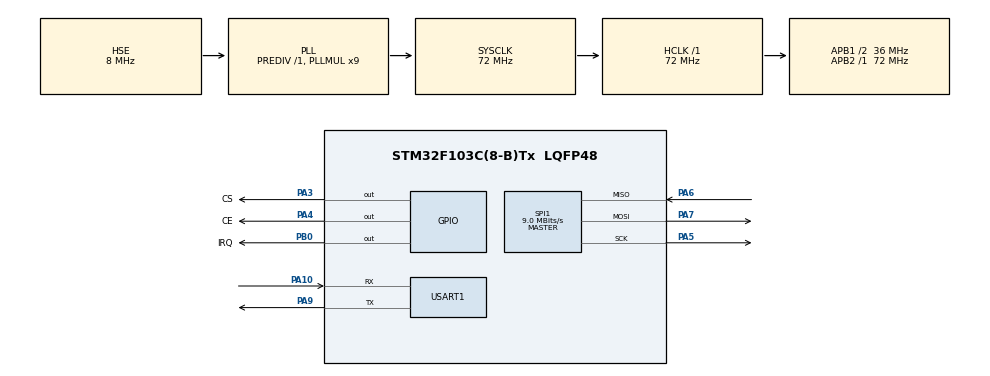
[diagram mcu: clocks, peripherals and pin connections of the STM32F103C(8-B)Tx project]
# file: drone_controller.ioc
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Mcu.Family=STM32F1
Mcu.Name=STM32F103C(8-B)Tx
Mcu.Package=LQFP48
NVIC.PriorityGroup=NVIC_PRIORITYGROUP_4
NVIC.USART1_IRQn=true\:0\:0\:false\:false\:true\:true\:true
PA10.Mode=Asynchronous
PA10.Signal=USART1_RX
PA13.Mode=Serial_Wire
PA13.Signal=SYS_JTMS-SWDIO
PA14.Mode=Serial_Wire
PA14.Signal=SYS_JTCK-SWCLK
PA3.GPIO_Label=CS
PA3.Signal=GPIO_Output
PA4.GPIO_Label=CE
PA4.Signal=GPIO_Output
PA5.Mode=Full_Duplex_Master
PA5.Signal=SPI1_SCK
PA6.Mode=Full_Duplex_Master
PA6.Signal=SPI1_MISO
PA7.Mode=Full_Duplex_Master
PA7.Signal=SPI1_MOSI
PA9.Mode=Asynchronous
PA9.Signal=USART1_TX
PB0.GPIO_Label=IRQ
PB0.Signal=GPIO_Output
PD0-OSC_IN.Mode=HSE-External-Oscillator
PD0-OSC_IN.Signal=RCC_OSC_IN
PD1-OSC_OUT.Mode=HSE-External-Oscillator
PD1-OSC_OUT.Signal=RCC_OSC_OUT
ProjectManager.HeapSize=0x200
ProjectManager.StackSize=0x400
ProjectManager.TargetToolchain=STM32CubeIDE
RCC.AHBFreq_Value=72000000
RCC.APB1CLKDivider=RCC_HCLK_DIV2
RCC.APB1Freq_Value=36000000
RCC.APB1TimFreq_Value=72000000
RCC.APB2Freq_Value=72000000
RCC.APB2TimFreq_Value=72000000
RCC.HCLKFreq_Value=72000000
RCC.PLLMUL=RCC_PLL_MUL9
RCC.PLLSourceVirtual=RCC_PLLSOURCE_HSE
RCC.SYSCLKFreq_VALUE=72000000
RCC.SYSCLKSource=RCC_SYSCLKSOURCE_PLLCLK
RCC.USBFreq_Value=72000000
SPI1.BaudRatePrescaler=SPI_BAUDRATEPRESCALER_8
SPI1.CalculateBaudRate=9.0 MBits/s
SPI1.Direction=SPI_DIRECTION_2LINES
SPI1.Mode=SPI_MODE_MASTER
SPI1.VirtualType=VM_MASTER
USART1.VirtualMode=VM_ASYNC
board=custom

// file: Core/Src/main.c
/* USER CODE BEGIN Header */
/**
  ******************************************************************************
  * @file           : main.c
  * @brief          : Main program body
  ******************************************************************************
  * @attention
  *
  * <h2><center>&copy; Copyright (c) 2020 STMicroelectronics.
  * All rights reserved.</center></h2>
  *
  * This software component is licensed by ST under BSD 3-Clause license,
  * the "License"; You may not use this file except in compliance with the
  * License. You may obtain a copy of the License at:
  *                        opensource.org/licenses/BSD-3-Clause
  *
  ******************************************************************************
  */
/* USER CODE END Header */

#include "main.h"

/* USER CODE BEGIN Includes */
#include "nrf24_hal.h"
#include "nrf24.h"
/* USER CODE END Includes */

SPI_HandleTypeDef hspi1;

UART_HandleTypeDef huart1;

void SystemClock_Config(void);
static void MX_GPIO_Init(void);
static void MX_SPI1_Init(void);
static void MX_USART1_UART_Init(void);

/* USER CODE BEGIN 0 */
int i;
uint8_t Rx_data[2];
uint8_t Rx_buffer[6];
//void init_ESC(){
//	  HAL_TIM_Base_Start(&htim4);
//	  HAL_TIM_PWM_Start(&htim1,TIM_CHANNEL_1);
//	    HAL_TIM_PWM_Start(&htim1,TIM_CHANNEL_2);
//	    HAL_TIM_PWM_Start(&htim1,TIM_CHANNEL_3);
//	    HAL_TIM_PWM_Start(&htim1,TIM_CHANNEL_4);
//	    __HAL_TIM_SET_COMPARE(&htim1, TIM_CHANNEL_1, 1000);
//	    __HAL_TIM_SET_COMPARE(&htim1, TIM_CHANNEL_2, 1000);
//	    __HAL_TIM_SET_COMPARE(&htim1, TIM_CHANNEL_3, 1000);
//	    __HAL_TIM_SET_COMPARE(&htim1, TIM_CHANNEL_4, 1000);
//	    esc_value1 = 1000;
//	    esc_value2 = 1000;
//	    esc_value3 = 1000;
//	    esc_value4 = 1000;
//
//	    HAL_Delay(3000);
//}
//
//void set_ESC(){
//	    __HAL_TIM_SET_COMPARE(&htim1, TIM_CHANNEL_1,esc_value1);
//	    __HAL_TIM_SET_COMPARE(&htim1, TIM_CHANNEL_2, esc_value2);
//	    __HAL_TIM_SET_COMPARE(&htim1, TIM_CHANNEL_3,esc_value3);
//	    __HAL_TIM_SET_COMPARE(&htim1, TIM_CHANNEL_4,esc_value4);
//}
/* USER CODE END 0 */

int main(void)
{

  /* MCU Configuration--------------------------------------------------------*/

  /* Reset of all peripherals, Initializes the Flash interface and the Systick. */
  HAL_Init();

  /* Configure the system clock */
  SystemClock_Config();

  /* Initialize all configured peripherals */
  MX_GPIO_Init();
  MX_SPI1_Init();
  MX_USART1_UART_Init();
  /* USER CODE BEGIN 2 */

  HAL_UART_Receive_IT(&huart1, &Rx_data, 1);

  uint8_t ADDR[] = { 'n', 'R', 'F', '2', '4' }; // the TX address
    nRF24_DisableAA(0xFF); // disable ShockBurst
    nRF24_SetRFChannel(24); // set RF channel to 2490MHz
    nRF24_SetDataRate(nRF24_DR_2Mbps); // 2Mbit/s data rate
    nRF24_SetCRCScheme(nRF24_CRC_1byte); // 1-byte CRC scheme
    nRF24_SetAddrWidth(5); // address width is 5 bytes
    nRF24_SetTXPower(nRF24_TXPWR_0dBm); // configure TX power
    nRF24_SetAddr(nRF24_PIPETX, ADDR); // program TX address
    nRF24_SetOperationalMode(nRF24_MODE_TX); // switch transceiver to the TX mode
    nRF24_SetPowerMode(nRF24_PWR_UP); // wake-up transceiver (in case if it sleeping)
    // the nRF24 is ready for transmission, upload a payload, then pull CE pin to HIGH and it will transmit a packet...
    char pBuf[10] = "abcd";
//    init_ESC();
    /* USER CODE END 2 */

    /* Infinite loop */
    while (1)
    {

      /* USER CODE BEGIN 3 */
  	  uint8_t status;
  	  nRF24_WritePayload(Rx_buffer, 12); // transfer payload data to transceiver
  	  nRF24_CE_H; // assert CE pin (transmission starts)
  	  while (1) {

  	      status = nRF24_GetStatus();
  	      if (status & (nRF24_FLAG_TX_DS | nRF24_FLAG_MAX_RT)) {
  	          // transmission ended, exit loop
  	          break;
  	      }
  	  }
  	  nRF24_CE_L; // de-assert CE pin (nRF24 goes to StandBy-I mode)
  	  nRF24_ClearIRQFlags(); // clear any pending IRQ flags

//  	  HAL_Delay(1);
    }
    /* USER CODE END 3 */
  }
void SystemClock_Config(void)
{
  RCC_OscInitTypeDef RCC_OscInitStruct = {0};
  RCC_ClkInitTypeDef RCC_ClkInitStruct = {0};

  /** Initializes the CPU, AHB and APB busses clocks
  */
  RCC_OscInitStruct.OscillatorType = RCC_OSCILLATORTYPE_HSE;
  RCC_OscInitStruct.HSEState = RCC_HSE_ON;
  RCC_OscInitStruct.HSEPredivValue = RCC_HSE_PREDIV_DIV1;
  RCC_OscInitStruct.HSIState = RCC_HSI_ON;
  RCC_OscInitStruct.PLL.PLLState = RCC_PLL_ON;
  RCC_OscInitStruct.PLL.PLLSource = RCC_PLLSOURCE_HSE;
  RCC_OscInitStruct.PLL.PLLMUL = RCC_PLL_MUL9;
  if (HAL_RCC_OscConfig(&RCC_OscInitStruct) != HAL_OK)
  {
    Error_Handler();
  }
  /** Initializes the CPU, AHB and APB busses clocks
  */
  RCC_ClkInitStruct.ClockType = RCC_CLOCKTYPE_HCLK|RCC_CLOCKTYPE_SYSCLK
                              |RCC_CLOCKTYPE_PCLK1|RCC_CLOCKTYPE_PCLK2;
  RCC_ClkInitStruct.SYSCLKSource = RCC_SYSCLKSOURCE_PLLCLK;
  RCC_ClkInitStruct.AHBCLKDivider = RCC_SYSCLK_DIV1;
  RCC_ClkInitStruct.APB1CLKDivider = RCC_HCLK_DIV2;
  RCC_ClkInitStruct.APB2CLKDivider = RCC_HCLK_DIV1;

  if (HAL_RCC_ClockConfig(&RCC_ClkInitStruct, FLASH_LATENCY_2) != HAL_OK)
  {
    Error_Handler();
  }
}

static void MX_SPI1_Init(void)
{

  /* SPI1 parameter configuration*/
  hspi1.Instance = SPI1;
  hspi1.Init.Mode = SPI_MODE_MASTER;
  hspi1.Init.Direction = SPI_DIRECTION_2LINES;
  hspi1.Init.DataSize = SPI_DATASIZE_8BIT;
  hspi1.Init.CLKPolarity = SPI_POLARITY_LOW;
  hspi1.Init.CLKPhase = SPI_PHASE_1EDGE;
  hspi1.Init.NSS = SPI_NSS_SOFT;
  hspi1.Init.BaudRatePrescaler = SPI_BAUDRATEPRESCALER_8;
  hspi1.Init.FirstBit = SPI_FIRSTBIT_MSB;
  hspi1.Init.TIMode = SPI_TIMODE_DISABLE;
  hspi1.Init.CRCCalculation = SPI_CRCCALCULATION_DISABLE;
  hspi1.Init.CRCPolynomial = 10;
  if (HAL_SPI_Init(&hspi1) != HAL_OK)
  {
    Error_Handler();
  }

}

static void MX_USART1_UART_Init(void)
{

  huart1.Instance = USART1;
  huart1.Init.BaudRate = 115200;
  huart1.Init.WordLength = UART_WORDLENGTH_8B;
  huart1.Init.StopBits = UART_STOPBITS_1;
  huart1.Init.Parity = UART_PARITY_NONE;
  huart1.Init.Mode = UART_MODE_TX_RX;
  huart1.Init.HwFlowCtl = UART_HWCONTROL_NONE;
  huart1.Init.OverSampling = UART_OVERSAMPLING_16;
  if (HAL_UART_Init(&huart1) != HAL_OK)
  {
    Error_Handler();
  }

}

static void MX_GPIO_Init(void)
{
  GPIO_InitTypeDef GPIO_InitStruct = {0};

  /* GPIO Ports Clock Enable */
  __HAL_RCC_GPIOD_CLK_ENABLE();
  __HAL_RCC_GPIOA_CLK_ENABLE();
  __HAL_RCC_GPIOB_CLK_ENABLE();

  /*Configure GPIO pin Output Level */
  HAL_GPIO_WritePin(GPIOA, CS_Pin|CE_Pin, GPIO_PIN_RESET);

  /*Configure GPIO pin Output Level */
  HAL_GPIO_WritePin(IRQ_GPIO_Port, IRQ_Pin, GPIO_PIN_RESET);

  /*Configure GPIO pins : CS_Pin CE_Pin */
  GPIO_InitStruct.Pin = CS_Pin|CE_Pin;
  GPIO_InitStruct.Mode = GPIO_MODE_OUTPUT_PP;
  GPIO_InitStruct.Pull = GPIO_NOPULL;
  GPIO_InitStruct.Speed = GPIO_SPEED_FREQ_LOW;
  HAL_GPIO_Init(GPIOA, &GPIO_InitStruct);

  /*Configure GPIO pin : IRQ_Pin */
  GPIO_InitStruct.Pin = IRQ_Pin;
  GPIO_InitStruct.Mode = GPIO_MODE_OUTPUT_PP;
  GPIO_InitStruct.Pull = GPIO_NOPULL;
  GPIO_InitStruct.Speed = GPIO_SPEED_FREQ_LOW;
  HAL_GPIO_Init(IRQ_GPIO_Port, &GPIO_InitStruct);

}

/* USER CODE BEGIN 4 */
void HAL_UART_RxCpltCallback(UART_HandleTypeDef *huart)
{
	HAL_GPIO_TogglePin(GPIOC, GPIO_PIN_13);
	if (huart->Instance == USART1)  //current UART
	{
		if(Rx_data[0] == 's'){
			i = 0;
             for(int count =0; count< 6; count++)
            	 Rx_buffer[count] = 0x00;
		}
		else{
			if(Rx_data[0] != 'e'){
			 Rx_buffer[i] = Rx_data[0];
			 i++;
//			 HAL_UART_Receive_IT(&huart3, (uint8_t *) Rx_data, 1);

			}
			else{
//				sbus_decode(Rx_buffer);
                Rx_data[0] = 0;
//				HAL_UART_Receive_IT(&huart3, (uint8_t *) Rx_data, 1);
			}
		}
	}
	 HAL_UART_Receive_IT(&huart1, (uint8_t *) Rx_data, 1);
}
/* USER CODE END 4 */

void Error_Handler(void)
{
}

/************************ (C) COPYRIGHT STMicroelectronics *****END OF FILE****/
